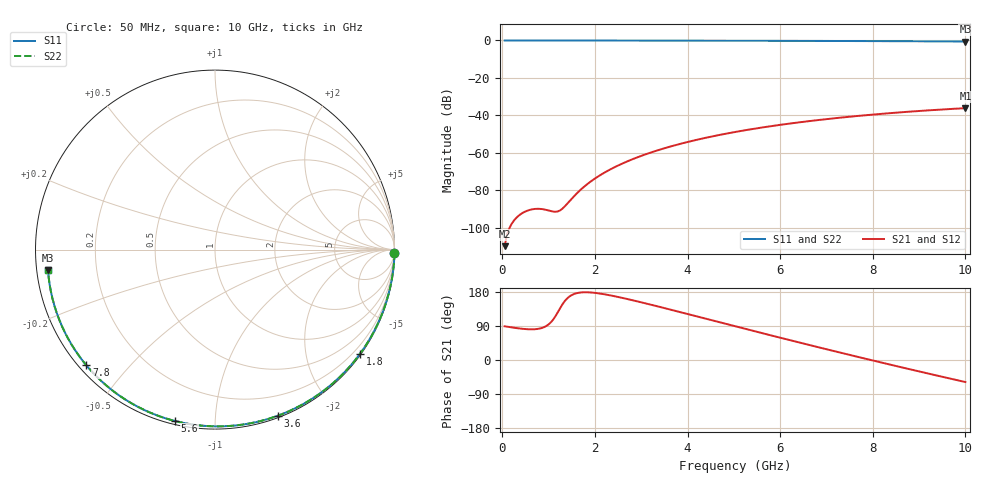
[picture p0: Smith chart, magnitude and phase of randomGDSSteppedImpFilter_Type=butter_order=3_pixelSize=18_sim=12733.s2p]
! freq	dB(S11)	phase(S11)	dB(S12)	phase(S12)
!  dB(S21)	phase(S21)	dB(S22)	phase(S22)
!S-par simulation data
#  GHz  S  DB  R 50
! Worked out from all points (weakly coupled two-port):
!   200 points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, 50 MHz to 10 GHz, reference 50 ohm
!   highest |S21| = -36.15 dB at 10 GHz (marker M1); lowest = -109.8 dB at 50 MHz (marker M2)
!   lowest |S11| = -0.6 dB at 10 GHz (marker M3), VSWR 31.02, Z = 1.62 - j3.07 ohm
!   |S11| at or under -10 dB: nowhere
!   |S22| runs from -0.6 to 0.0 dB; largest |S21 - S12| = 0
!   S11 on the Smith chart (normalised r, x): 50 MHz: open; 1.8 GHz: 0.03, -3.11; 3.6 GHz: 0.02, -1.45; 5.6 GHz: 0.02, -0.79; 7.8 GHz: 0.02, -0.38; 10 GHz: 0.03, -0.06
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0.05  -0.00 -1.0  -109.82 89.0  -109.82 89.0  -0.00 -1.0
0.8  -0.02 -16.1  -89.89 82.8  -89.89 82.8  -0.02 -16.1
1.2  -0.03 -24.0  -91.26 126.3  -91.26 126.3  -0.03 -24.0
1.65  -0.04 -32.7  -80.64 177.4  -80.64 177.4  -0.04 -32.8
1.7  -0.04 -33.7  -79.49 178.2  -79.49 178.2  -0.04 -33.7
1.75  -0.04 -34.7  -78.41 178.7  -78.41 178.7  -0.04 -34.7
1.8  -0.05 -35.6  -77.38 178.8  -77.38 178.8  -0.05 -35.7
1.95  -0.05 -38.5  -74.58 177.8  -74.58 177.8  -0.05 -38.5
2.1  -0.05 -41.4  -72.12 175.5  -72.12 175.5  -0.05 -41.4
2.45  -0.06 -48.0  -67.36 167.6  -67.36 167.6  -0.06 -48.0
2.9  -0.07 -56.4  -62.54 155.2  -62.54 155.2  -0.07 -56.4
3.4  -0.09 -65.6  -58.30 140.1  -58.30 140.1  -0.09 -65.6
3.6  -0.09 -69.1  -56.83 133.9  -56.83 133.9  -0.09 -69.2
4.3  -0.11 -81.4  -52.47 112.0  -52.47 112.0  -0.11 -81.4
5.05  -0.14 -94.2  -48.76 88.4  -48.76 88.4  -0.14 -94.2
5.6  -0.17 -103.2  -46.50 71.2  -46.50 71.2  -0.17 -103.2
6.15  -0.20 -112.1  -44.55 54.2  -44.55 54.2  -0.20 -112.1
6.7  -0.23 -120.8  -42.84 37.4  -42.84 37.4  -0.23 -120.8
7.8  -0.32 -138.0  -40.01 4.6  -40.01 4.6  -0.32 -138.0
8.35  -0.37 -146.6  -38.84 -11.5  -38.84 -11.5  -0.37 -146.6
9.2  -0.46 -160.0  -37.31 -35.8  -37.31 -35.8  -0.46 -160.0
10  -0.56 -173.0  -36.15 -58.2  -36.15 -58.2  -0.56 -173.0
